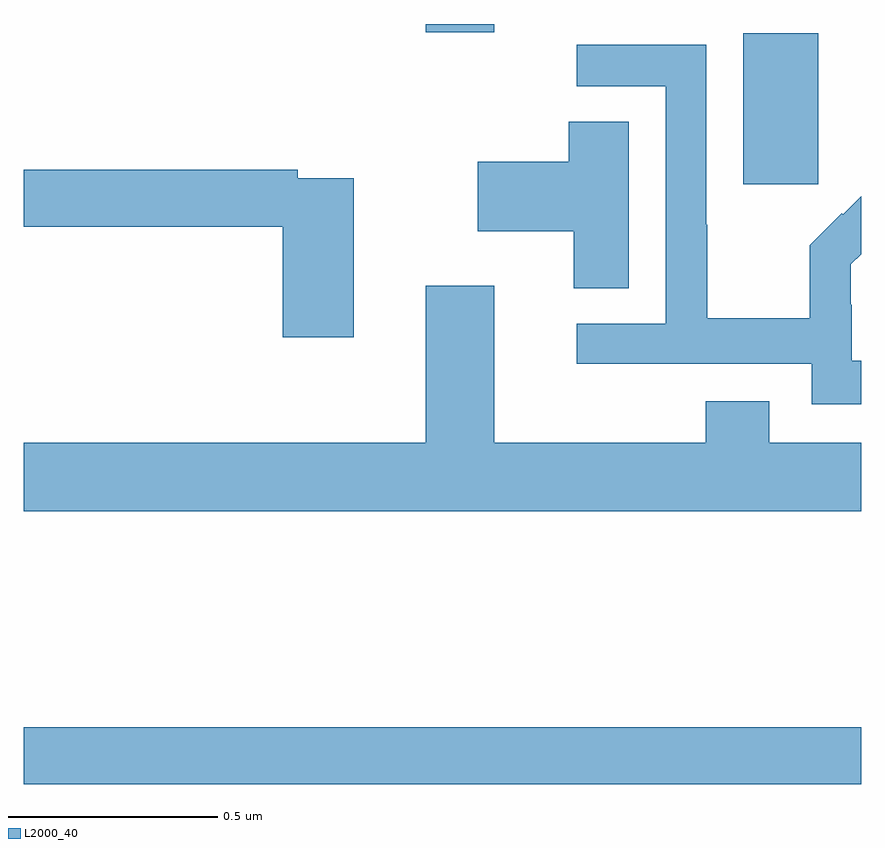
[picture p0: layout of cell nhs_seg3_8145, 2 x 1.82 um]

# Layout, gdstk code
import gdstk
lib = gdstk.Library(unit=1e-6, precision=1e-09)
def R(c, l, rs):  # rectangles x0, y0, x1, y1
    for r in rs: c.add(gdstk.rectangle(r[:2], r[2:], *l))
def P(c, l, *ps):  # polygons
    for p in ps: c.add(gdstk.Polygon(p, *l))
L2000_40 = (2000, 40)

nhs_seg3_8145 = lib.new_cell('nhs_seg3_8145')
R(nhs_seg3_8145, L2000_40, [(212,713.584,214,713.72), (213.719,715.017,213.898,715.378), (212.96,715.38,213.124,715.4)])
P(nhs_seg3_8145, L2000_40, [(214,714.595),(213.978,714.595),(213.978,714.729),(213.976,714.729),(213.976,714.826),(214,714.85),(214,714.988),(213.957,714.945),(213.954,714.948),(213.877,714.871),(213.877,714.697),(213.633,714.697),(213.633,714.92),(213.63,714.92),(213.63,715.35),(213.321,715.35),(213.321,715.251),(213.534,715.251),(213.534,714.684),(213.321,714.684),(213.321,714.588),(213.882,714.588),(213.882,714.491),(214,714.491)],
  [(213.445,715.166),(213.302,715.166),(213.302,715.071),(213.084,715.071),(213.084,714.905),(213.314,714.905),(213.314,714.769),(213.445,714.769)],
  [(212.788,715.032),(212.654,715.032),(212.654,715.052),(212,715.052),(212,714.916),(212.618,714.916),(212.618,714.651),(212.788,714.651)],
  [(214,714.4),(213.781,714.4),(213.781,714.499),(213.629,714.499),(213.629,714.4),(213.124,714.4),(213.124,714.775),(212.96,714.775),(212.96,714.4),(212,714.4),(212,714.236),(214,714.236)])

lib.write_gds('nhs_seg3_8145.gds')
